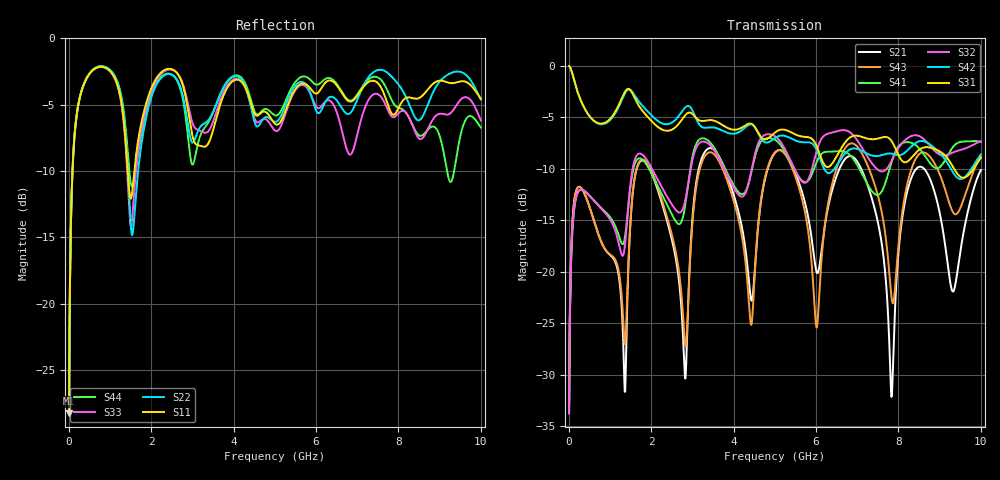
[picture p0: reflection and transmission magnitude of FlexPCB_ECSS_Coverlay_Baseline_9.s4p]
! TOUCHSTONE file generated by CST MICROWAVE STUDIO
! Date and time: Sun Jul  5 19:09:36 2026
! Project name: FlexPCB_ECSS_Coverlay_Baseline.cst
! Parameters = {Gap=0.6; GroundW=5.2; Hadh=0.025; Hcov=0.025; Hsub=0.1; L=50; Tcu=0.035; W=0.16}
! Header version: 2024
! Port assignment regex: !\s*Touchstone port\s*([0-9]+)\s*=\s*(CST MWS port|CST DES external port|CST DES block port)\s*(.+)\s* \(\"(.*)\"\)(\s*mode\s*([0-9]+))?.*
! Touchstone port assignment:
! Touchstone port 1 = CST MWS port 1 ("")
! Touchstone port 2 = CST MWS port 2 ("")
! Touchstone port 3 = CST MWS port 3 ("")
! Touchstone port 4 = CST MWS port 4 ("")
# GHz S MA R 50
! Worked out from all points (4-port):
!   1002 points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, 10 MHz to 10 GHz, reference 50 ohm
!   strongest paths, dB at 10 MHz, 2.51 GHz, 5.01 GHz, 7.503 GHz, 10 GHz:
!     S31: 0.0, -6.2, -6.5, -7.1, -8.9
!     S42: 0.0, -5.5, -7.0, -8.7, -8.6
!     S32: -33.8, -13.5, -6.9, -10.1, -7.3
!     S41: -33.8, -14.5, -7.2, -12.5, -7.4
!     S43: -32.8, -16.5, -8.4, -12.6, -8.8
!     S21: -32.8, -17.0, -8.4, -15.2, -10.1
!   lowest |S11| = -28.3 dB at 10 MHz (marker M1), VSWR 1.08, Z = 49.7 - j3.85 ohm
!   |S11| at or under -10 dB: start of sweep to 91.45 MHz; 1.433 GHz to 1.593 GHz (159.9 MHz wide, 10.6 % of centre)
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0.01  0.03866 -91.6  0.02284 85.0  0.9975 -2.7  0.02052 85.0
      0.02284 85.0  0.03872 -91.7  0.02052 85.0  0.9975 -2.7
      0.9975 -2.7  0.02052 85.0  0.03866 -91.7  0.02284 85.0
      0.02052 85.0  0.9975 -2.7  0.02284 85.0  0.03872 -91.6
0.4  0.6899 -155.8  0.2356 -11.4  0.6148 -59.5  0.2456 -32.1
     0.2356 -11.4  0.6912 -156.2  0.2453 -32.5  0.6137 -59.4
     0.6148 -59.5  0.2453 -32.5  0.6899 -156.2  0.235 -11.2
     0.2456 -32.1  0.6137 -59.4  0.235 -11.2  0.6915 -155.7
1.49  0.2518 167.8  0.1626 78.5  0.7655 -169.3  0.2514 -101.5
      0.1626 78.5  0.2185 146.4  0.258 -95.1  0.7663 -165.5
      0.7655 -169.3  0.258 -95.1  0.2024 161.6  0.1649 70.2
      0.2514 -101.5  0.7663 -165.5  0.1649 70.2  0.2973 157.8
3  0.4311 158.4  0.1799 95.1  0.5847 29.3  0.3598 101.5
   0.1799 95.1  0.405 174.6  0.3474 95.2  0.609 21.4
   0.5847 29.3  0.3474 95.2  0.481 163.0  0.1703 98.3
   0.3598 101.5  0.609 21.4  0.1703 98.3  0.3349 171.1
5.005  0.4771 -179.5  0.3786 14.5  0.4747 174.8  0.4377 -148.5
       0.3786 14.5  0.4852 -175.4  0.4551 -148.7  0.4465 173.2
       0.4747 174.8  0.4551 -148.7  0.4497 177.2  0.3807 11.5
       0.4377 -148.5  0.4465 173.2  0.3807 11.5  0.5131 -179.2
7.83  0.5227 169.1  0.02465 -10.3  0.4324 -142.3  0.3401 -64.5
      0.02465 -10.3  0.7194 171.2  0.3449 -82.3  0.375 -126.8
      0.4324 -142.3  0.3449 -82.3  0.5092 171.6  0.0758 -175.2
      0.3401 -64.5  0.375 -126.8  0.0758 -175.2  0.5876 152.0
10  0.5924 161.0  0.3117 -3.8  0.3575 0.4  0.4284 34.6
    0.3117 -3.8  0.5887 162.0  0.4304 29.3  0.3717 4.9
    0.3575 0.4  0.4304 29.3  0.491 173.0  0.3636 21.4
    0.4284 34.6  0.3717 4.9  0.3636 21.4  0.4613 174.1
